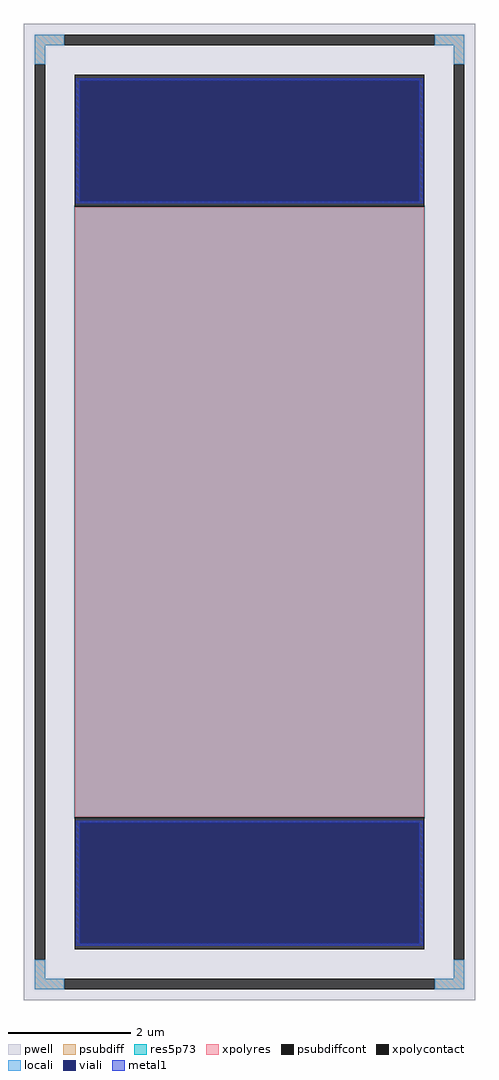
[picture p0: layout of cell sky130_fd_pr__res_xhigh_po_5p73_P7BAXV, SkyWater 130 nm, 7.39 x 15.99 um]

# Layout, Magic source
magic
tech sky130A
magscale 1 2
<< pwell >>
rect -739 -1599 739 1599
<< psubdiff >>
rect -703 1529 -607 1563
rect 607 1529 703 1563
rect -703 1467 -669 1529
rect 669 1467 703 1529
rect -703 -1529 -669 -1467
rect 669 -1529 703 -1467
rect -703 -1563 -607 -1529
rect 607 -1563 703 -1529
<< psubdiffcont >>
rect -607 1529 607 1563
rect -703 -1467 -669 1467
rect 669 -1467 703 1467
rect -607 -1563 607 -1529
<< xpolycontact >>
rect -573 1001 573 1433
rect -573 -1433 573 -1001
<< xpolyres >>
rect -573 -1001 573 1001
<< locali >>
rect -703 1529 -607 1563
rect 607 1529 703 1563
rect -703 1467 -669 1529
rect 669 1467 703 1529
rect -703 -1529 -669 -1467
rect 669 -1529 703 -1467
rect -703 -1563 -607 -1529
rect 607 -1563 703 -1529
<< viali >>
rect -557 1018 557 1415
rect -557 -1415 557 -1018
<< metal1 >>
rect -569 1415 569 1421
rect -569 1018 -557 1415
rect 557 1018 569 1415
rect -569 1012 569 1018
rect -569 -1018 569 -1012
rect -569 -1415 -557 -1018
rect 557 -1415 569 -1018
rect -569 -1421 569 -1415
<< res5p73 >>
rect -575 -1003 575 1003
<< properties >>
string FIXED_BBOX -686 -1546 686 1546
string gencell sky130_fd_pr__res_xhigh_po_5p73
string library sky130
string parameters w 5.730 l 10.005 m 1 nx 1 wmin 5.730 lmin 0.50 rho 2000 val 3.557k dummy 0 dw 0.0 term 188.2 sterm 0.0 caplen 0 wmax 5.730 guard 1 glc 1 grc 1 gtc 1 gbc 1 compatible {sky130_fd_pr__res_xhigh_po_0p35  sky130_fd_pr__res_xhigh_po_0p69 sky130_fd_pr__res_xhigh_po_1p41  sky130_fd_pr__res_xhigh_po_2p85 sky130_fd_pr__res_xhigh_po_5p73} snake 0 full_metal 1 n_guard 0 hv_guard 0 vias 1 viagb 0 viagt 0 viagl 0 viagr 0
<< end >>
